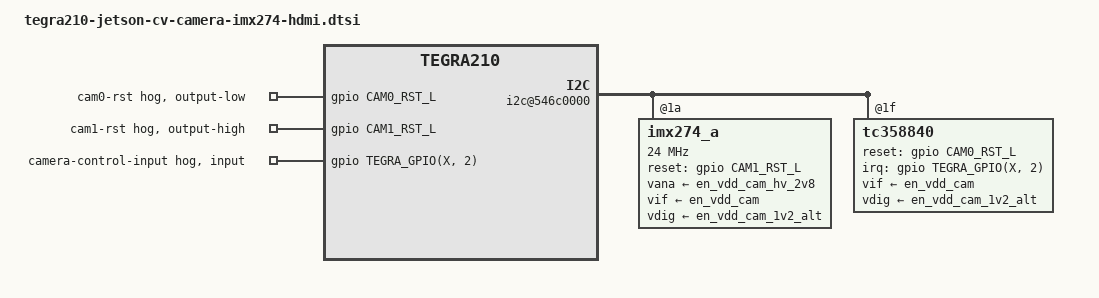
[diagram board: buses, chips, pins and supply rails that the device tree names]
/*
 * Copyright (c) 2016-2018, NVIDIA CORPORATION.  All rights reserved.
 *
 * This program is free software; you can redistribute it and/or modify
 * it under the terms of the GNU General Public License as published by
 * the Free Software Foundation; either version 2 of the License, or
 * (at your option) any later version.
 *
 * This program is distributed in the hope that it will be useful, but WITHOUT
 * ANY WARRANTY; without even the implied warranty of MERCHANTABILITY or
 * FITNESS FOR A PARTICULAR PURPOSE.  See the GNU General Public License for
 * more details.
 *
 * You should have received a copy of the GNU General Public License
 * along with this program.  If not, see <http://www.gnu.org/licenses/>.
 */

#include "tegra210-camera-imx274-hdmi.dtsi"

#define CAM0_RST_L	TEGRA_GPIO(S, 4)
#define CAM1_RST_L	TEGRA_GPIO(S, 5)

/* camera control gpio definitions */

/ {
	host1x {
		i2c@546c0000 {
			imx274_a@1a {
				/* Define any required hw resources needed by driver */
				/* ie. clocks, io pins, power sources */
				clocks = <&tegra_car TEGRA210_CLK_CLK_OUT_3>;
				clock-names = "clk_out_3";
				clock-frequency = <24000000>;
				mclk = "clk_out_3";
				status = "okay";
				reset-gpios = <&gpio CAM1_RST_L GPIO_ACTIVE_HIGH>;
				vana-supply = <&en_vdd_cam_hv_2v8>;
				vif-supply = <&en_vdd_cam>;
				vdig-supply = <&en_vdd_cam_1v2_alt>;
			};
			tc358840@1f {
				single-source-max-width = "1920";
				mclk = "clk_out_3";
				cam2_rst   = <&tca9539_77 8 GPIO_ACTIVE_HIGH>;
				vif-supply = <&en_vdd_cam>;
				vdig-supply = <&en_vdd_cam_1v2_alt>;
				reset-gpios = <&gpio CAM0_RST_L GPIO_ACTIVE_HIGH>;
				interrupt-parent = <&gpio>;
				interrupts = <TEGRA_GPIO(X, 2) GPIO_ACTIVE_HIGH>;

				refclk_hz = <40000000>; /* 40 - 50 MHz */

				ddc5v_delay = <1>;        /* 50 ms */

				/* HDCP */
				/* TODO: Not yet implemented */
				enable_hdcp = <0>;

				/* CSI Output */
				csi_port = <3>;            /* Enable TX0 and TX1 */

				lineinitcnt = <0x00000FA0>;
				lptxtimecnt = <0x00000004>;
				tclk_headercnt = <0x00180203>;
				tclk_trailcnt = <0x00040005>;
				ths_headercnt = <0x000D0004>;
				twakeup = <0x00003E80>;
				tclk_postcnt = <0x0000000A>;
				ths_trailcnt = <0x00080006>;
				hstxvregcnt = <0x00000020>;
				btacnt = <0>;

				/* PLL */
				/* Bps per lane is (refclk_hz / pll_prd) * pll_fbd */
				pll_prd = <10>;
				pll_fbd = <230>;
				pll_frs = <0>;
			};
		};
	};

	pinmux@700008d4 {
		common {
			motion_int_px2 {
				nvidia,pins = "motion_int_px2";
				nvidia,function = "rsvd0";
				nvidia,pull = <TEGRA_PIN_PULL_UP>;
				nvidia,tristate = <TEGRA_PIN_DISABLE>;
				nvidia,enable-input = <TEGRA_PIN_ENABLE>;
			};
		};
		unused_lowpower {
			/delete-node/ motion_int_px2;
		};
	};

	gpio: gpio@6000d000 {
		camera-control-output-low {
			gpio-hog;
			output-low;
			gpios = <
				CAM0_RST_L 0
				>;
			label = "cam0-rst";
		};
		camera-control-output-high {
			gpio-hog;
			output-high;
			gpios = <
				CAM1_RST_L 0
				>;
			label = "cam1-rst";
		};
		camera-control-input {
			gpio-hog;
			gpios = <TEGRA_GPIO(X, 2)>;
			input;
		};
	};

	regulators {
		regulator@210 {
			/delete-property/ gpio;
		};
	};
};
